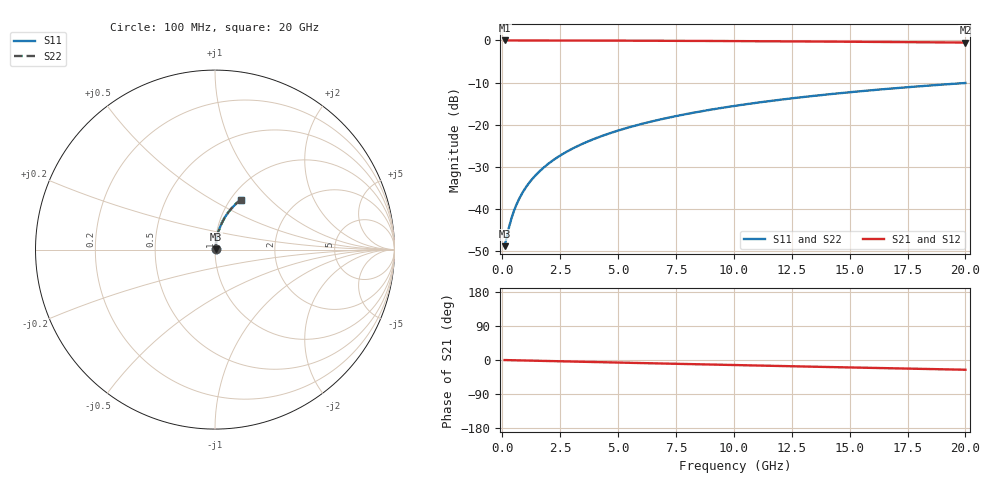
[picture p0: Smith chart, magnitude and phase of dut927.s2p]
! Touchstone file exported from HFSS 2026.1.0
!  File:  C:/ffzhzh/LocalFiles/Ansys_Project_Files/temp_train_TMRDL_927_1783158265_55132.aedt
!  Generated:  05:45:38 PM Jul  4, 2026
!  Design:  TMRDL
!  Project:  temp_train_TMRDL_927_1783158265_55132
! Variables:
!  h_bsmrdl = 2um
!  h_ox = 20um
!  h_rdl = 5um
!  h_sub = 80um
!  h_tmrdl = 2.9um
!  h_tsv = 80um
!  h_via = 3um
!  l_bsmrdl = 300um
!  l_sub = 696.56um
!  l_tmrdl = 296.56um
!  m_sub = 200um
!  pitch = 44.34um
!  r_tsv = 6um
!  s_tmrdl = 10um
!  w_bsmrdl = 18um
!  w_sub = 500um
!  w_tmrdl = 12.03um
!  x_tsv_center1 = 302.575um
!  x_tsv_center2 = 620.575um
!  x_tsv_center3 = 929.165um
!  x_tsv_center4 = 1247.165um
!  x_tsv_center5 = 1555.755um
!  x_tsv_center6 = 1873.755um
# GHz S MA R 50.000000
! Terminal data exported
! Port[1] = TM_RDL1_1_T1
! Port[2] = TM_RDL1_1_T2
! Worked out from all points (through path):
!   200 points, 100 MHz to 20 GHz, reference 50 ohm
!   highest |S21| = -0.03 dB at 100 MHz (marker M1); lowest = -0.5 dB at 20 GHz (marker M2)
!   group delay of S21, straight-line fit = 3.58 ps
!   lowest |S11| = -48.8 dB at 100 MHz (marker M3), VSWR 1.01, Z = 50.3 + j0.18 ohm
!   |S11| at or under -10 dB: start of sweep to end of sweep
!   |S22| runs from -48.8 to -10.1 dB; largest |S21 - S12| = 3e-15
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0.1  0.003635 29.4  0.9968 -0.1  0.9968 -0.1  0.003635 29.4
! Gamma 0 0 0 0
! Port Impedance 50 0 50 0
0.3  0.006249 58.4  0.9967 -0.4  0.9967 -0.4  0.006249 58.4
0.4  0.007826 64.6  0.9967 -0.6  0.9967 -0.6  0.007826 64.6
0.5  0.009454 68.6  0.9966 -0.7  0.9966 -0.7  0.009454 68.6
0.6  0.0111 71.4  0.9966 -0.8  0.9966 -0.8  0.0111 71.4
0.7  0.01277 73.4  0.9965 -1.0  0.9965 -1.0  0.01277 73.4
0.9  0.01611 76.1  0.9964 -1.2  0.9964 -1.2  0.01611 76.1
1.2  0.02114 78.5  0.9962 -1.6  0.9962 -1.6  0.02114 78.5
1.4  0.02451 79.5  0.996 -1.9  0.996 -1.9  0.02451 79.5
1.7  0.02957 80.4  0.9958 -2.3  0.9958 -2.3  0.02957 80.4
2.2  0.03803 81.2  0.9955 -3.0  0.9955 -3.0  0.03803 81.2
2.8  0.04819 81.5  0.9949 -3.8  0.9949 -3.8  0.04819 81.5
3.5  0.06002 81.4  0.9941 -4.7  0.9941 -4.7  0.06002 81.4
4.2  0.07181 80.9  0.9932 -5.7  0.9932 -5.7  0.07181 80.9
5  0.08523 80.3  0.9919 -6.7  0.9919 -6.7  0.08523 80.3
5.9  0.1002 79.4  0.9903 -7.9  0.9903 -7.9  0.1002 79.4
6.8  0.1151 78.4  0.9884 -9.1  0.9884 -9.1  0.1151 78.4
8.3  0.1395 76.6  0.9848 -11.1  0.9848 -11.1  0.1395 76.7
10.1  0.1682 74.5  0.9797 -13.5  0.9797 -13.5  0.1682 74.5
13.4  0.219 70.5  0.9687 -17.7  0.9687 -17.7  0.219 70.5
16.7  0.267 66.5  0.9557 -21.7  0.9557 -21.7  0.267 66.5
20  0.3123 62.7  0.9413 -25.7  0.9413 -25.7  0.3123 62.7
